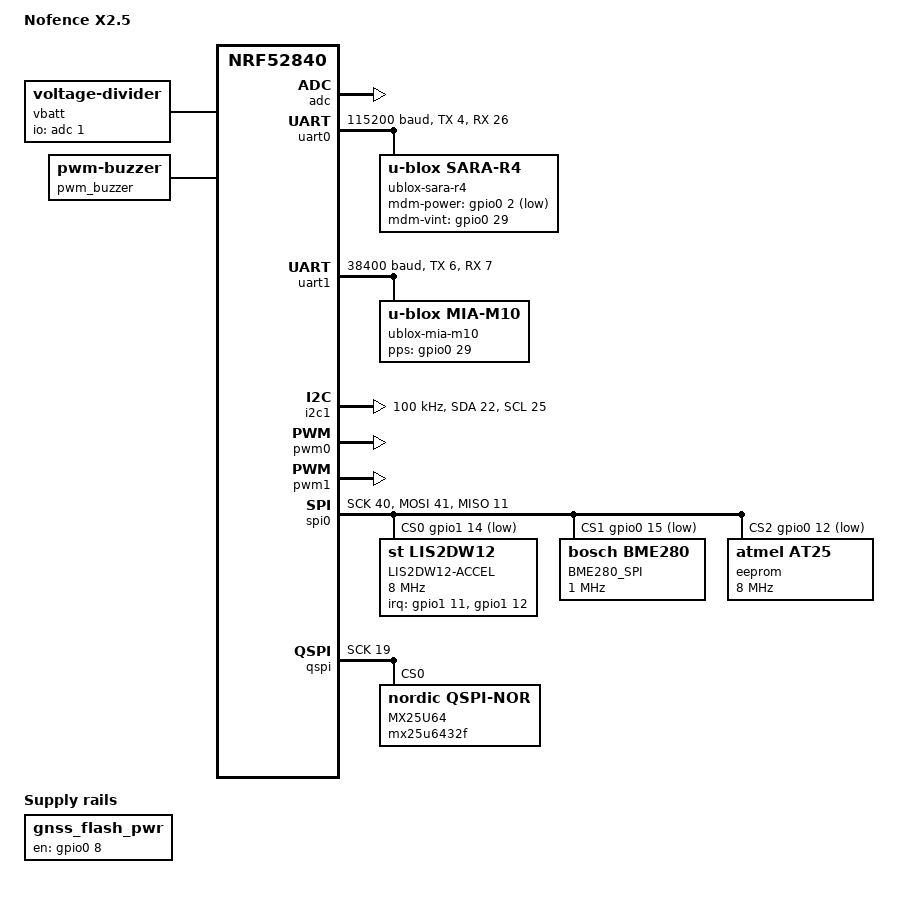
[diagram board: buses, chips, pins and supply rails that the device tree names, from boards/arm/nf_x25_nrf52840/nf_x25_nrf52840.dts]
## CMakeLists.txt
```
# SPDX-License-Identifier: Apache-2.0

cmake_minimum_required(VERSION 3.20.0)

# Print out build type
message(STATUS "Build type: ${BUILD_TYPE} 🚀")

list(APPEND DTS_ROOT ${CMAKE_CURRENT_SOURCE_DIR})

# Out-of-tree driver for GNSS,
# see https://github.com/zephyrproject-rtos/zephyr/tree/main/samples/application_development/out_of_tree_driver
list(APPEND ZEPHYR_EXTRA_MODULES
        )

list(APPEND ZEPHYR_EXTRA_MODULES
        ${CMAKE_CURRENT_SOURCE_DIR}/src/modules/collar_protocol
        ${CMAKE_CURRENT_SOURCE_DIR}/src/drivers/gnss
        ${CMAKE_CURRENT_SOURCE_DIR}/src/drivers/modem_nf
        )



# Re-direct the directory where the 'boards' directory is found from
# $ZEPHYR_BASE to this directory.
set(BOARD_ROOT ${CMAKE_CURRENT_LIST_DIR})

if (BUILD_TYPE STREQUAL "debug")
  set(OVERLAY_CONFIG debug.conf)
endif()

# The Nofence X3 board exists out-of-tree from zephyr boards
# Default board is a future revision that does not exist yet
# Force users to select boards for now, uncomment line below later
set(BOARD nf_sg25_27o_nrf52840)

find_package(Zephyr REQUIRED HINTS $ENV{ZEPHYR_BASE})

include(cmake/version.cmake)

project(x3_fw)

# Genrerate firmware version info
configure_file(version.h.in ${PROJECT_BINARY_DIR}/include/generated/nf_version.h)
configure_file(version.sh.in ${PROJECT_BINARY_DIR}/nf_version.sh)

# As the Zephyr GNSS API is not yet finalized, ( see https://github.com/zephyrproject-rtos/zephyr/issues/30564)
# We put the proposed API out-of-tree
zephyr_include_directories(include
                          )
zephyr_include_directories(${CMAKE_CURRENT_BINARY_DIR})
include_directories(${CMAKE_CURRENT_BINARY_DIR})

zephyr_include_directories(${PROJECT_BINARY_DIR}/include/generated)

set(APP_MAIN src/main.c)

if (CONFIG_COLLAR_PROTOCOL)
        add_dependencies(app collar_protocol_headers)
endif ()

# Added as zephyr library
zephyr_library_include_directories(
        src/modules/amc
        src/modules/fw_upgrade
        src/modules/storage_controller
        src/events
        src/modules/error_handler
        src/events/error_handler
        src/modules/diagnostics
        src/events/diagnostics
        src/events/fw_upgrade
        src/modules/environment
        src/events/environment
        src/modules/movement_controller
        src/events/movement_controller
        src/modules/cellular_controller
        src/modules/gnss_controller
        src/events/cellular_controller
  	src/modules/buzzer
        src/modules/time_use
        src/modules/nofence_watchdog
        src/events/collar_stats
        src/events/amc
        src/events/watchdog
        src/drivers/approtect
        ${PROJECT_BINARY_DIR}/include/generated/)
        
target_sources(app PRIVATE ${APP_MAIN}
        ${APP_SOURCES}
)

# Application sources
add_subdirectory(src/events/ble)
add_subdirectory(src/modules/ble)
add_subdirectory(src/modules/fw_upgrade)
add_subdirectory(src/modules/storage_controller)
add_subdirectory(src/modules/nf_settings)
add_subdirectory(src/modules/amc)
add_subdirectory(src/events/amc)
add_subdirectory(src/modules/cellular_controller)
add_subdirectory(src/modules/buzzer)
add_subdirectory(src/modules/error_handler)
add_subdirectory(src/modules/nofence_watchdog)

add_subdirectory(src/modules/power_manager)
add_subdirectory(src/events/power_manager)

add_subdirectory(src/events/messaging)
add_subdirectory(src/modules/messaging)
#add_subdirectory(src/events/diagnostics)
add_subdirectory(src/modules/diagnostics)

add_subdirectory(src/events/electric_pulse)
add_subdirectory(src/modules/electric_pulse)
add_subdirectory(src/modules/environment)

add_subdirectory_ifdef(CONFIG_WATCHDOG_ENABLE src/modules/watchdog)
add_subdirectory_ifdef(CONFIG_WATCHDOG_ENABLE src/events/watchdog)
add_subdirectory(src/modules/gnss_controller)
add_subdirectory(src/modules/movement_controller)
add_subdirectory(src/modules/time_use)
add_subdirectory(src/events/collar_stats)
add_subdirectory(src/events/movement_controller)

add_subdirectory(src/drivers/approtect)
```

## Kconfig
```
menu "APPLICATION_CODE"

	config APPLICATION_WORKQUEUE_STACK_SIZE
		int "Application workqueue stack size"
		default 4096

	config APPLICATION_WORKQUEUE_PRIORITY
		int "Application workqueue priority"
		default SYSTEM_WORKQUEUE_PRIORITY

	config UBX_CONTROLLER_LOG_LEVEL
		int "Log level for the ESB PTX sample"
		default 4

endmenu # APPLICATION CODE

menu "DIAGNOSTICS"
rsource "src/modules/diagnostics/Kconfig"
endmenu # DIAGNOSTICS

menu "AMC_MODULE"
rsource "src/modules/amc/Kconfig"
rsource "src/modules/amc/lib/Kconfig"
endmenu # AMC_MODULE

menu "BUZZER_MODULE"
rsource "src/modules/buzzer/Kconfig"
endmenu # BUZZER_MODULE

menu "ERROR_HANDLER"
rsource "src/modules/error_handler/Kconfig"
endmenu # ERROR_HANDLER

menu "FW_UPGRADE"
rsource "src/modules/fw_upgrade/Kconfig"
endmenu # FW_UPGRADE

menu "BLE Modules"
rsource "src/modules/ble/Kconfig"
endmenu

menu "Storage controller"
rsource "src/modules/storage_controller/Kconfig"
endmenu

menu "BLE Events"
rsource "src/events/ble/Kconfig"
endmenu

menu "EP Module"
rsource "src/modules/electric_pulse/Kconfig"
endmenu

menu "Movement Events"
rsource "src/events/movement_controller/Kconfig"
endmenu

menu "EP Events"
rsource "src/events/electric_pulse/Kconfig"
endmenu

menu "Error Events"
rsource "src/events/error_handler/Kconfig"
endmenu

menu "Diagnostics Events"
rsource "src/events/diagnostics/Kconfig"
endmenu

menu "Environment Events"
rsource "src/events/environment/Kconfig"
endmenu

menu "Sound Events"
rsource "src/events/buzzer/Kconfig"
endmenu

menu "Env Sensor"
rsource "src/modules/environment/Kconfig"
endmenu

menu "Messaging"
rsource "src/modules/messaging/Kconfig"
rsource "src/events/messaging/Kconfig"
endmenu

menu "GNSS controller"
rsource "src/modules/gnss_controller/Kconfig"
endmenu

menu "Movement"
rsource "src/modules/movement_controller/Kconfig"
endmenu

menu "Nofence Watchdog"
rsource "src/modules/nofence_watchdog/Kconfig"
endmenu

menu "PWR Events"
rsource "src/events/power_manager/Kconfig"
endmenu

menu "PWR Module"
rsource "src/modules/power_manager/Kconfig"
endmenu

menu "CELLULAR_CONTROLLER"
rsource "src/modules/cellular_controller/Kconfig"
endmenu

menu "TIME_USE"
rsource "src/modules/time_use/Kconfig"
endmenu

menu "Zephyr Kernel"
source "Kconfig.zephyr" 
endmenu

menu "Watchdog"
rsource "src/modules/watchdog/Kconfig"
endmenu
```

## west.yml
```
# Example application-specific west.yml, using manifest imports.
manifest:
  remotes:
    - name: ncs
      url-base: https://github.com/nrfconnect
    - name: nofence
      url-base: git@gitlab.com:nofence
  projects:
    - name: nrf
      repo-path: sdk-nrf
      remote: nofence
      revision: 88422caeb8bfb4e600ddd42054f8656d0586378a
      import: true
    - name: zephyr
      repo-path: sdk-zephyr
      remote: nofence
      revision: v2.7.0-ncs1-nf06
      import:
        # In addition to the zephyr repository itself, NCS also
        # imports the contents of zephyr/west.yml at the above
        # revision. Only the projects explicitly named in the
        # following allowlist are imported.
        #
        # Note that the zephyr west extensions (like 'build', 'flash',
        # 'debug', etc.) are automatically provided by this import, so
        # there's no need to add a redundant west-commands: key for
        # the zephyr project.
        #
        # Please keep this list sorted alphabetically.
        name-allowlist:
          - TraceRecorderSource
          - canopennode
          - civetweb
          - cmsis
          - edtt
          - fatfs
          - hal_nordic
          - hal_st
          - libmetal
          - littlefs
          - loramac-node
          - lvgl
          - lz4
          - mbedtls
          - mcumgr
          - mipi-sys-t
          - nanopb
          - net-tools
          - nrf_hw_models
          - open-amp
          - openthread
          - segger
          - tinycbor
          - tinycrypt

    - name: collar-protocol
      remote: nofence
      repo-path: collar-protocol
      revision: nf-25-05
```

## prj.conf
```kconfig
#  Faulting instruction address (r15/pc): 0x00000000
CONFIG_MAIN_STACK_SIZE=16384

# Create signed images
# See https://developer.nordicsemi.com/nRF_Connect_SDK/doc/latest/mcuboot/readme-ncs.html
CONFIG_BOOTLOADER_MCUBOOT=y

# We need PWM for the Buzzer and electric pulse
CONFIG_PWM=y

CONFIG_BT=y
CONFIG_BT_DEVICE_NAME_DYNAMIC=y
CONFIG_BT_BROADCASTER=y
CONFIG_BT_OBSERVER=y
CONFIG_BT_DEBUG_LOG=n
CONFIG_BT_PERIPHERAL=y
CONFIG_BT_PERIPHERAL_PREF_MIN_INT=6
CONFIG_BT_PERIPHERAL_PREF_MAX_INT=16
CONFIG_BT_PERIPHERAL_PREF_LATENCY=0
CONFIG_BT_PERIPHERAL_PREF_TIMEOUT=400
CONFIG_BT_BONDABLE=n
CONFIG_BT_LL_SOFTDEVICE=y
CONFIG_BT_MAX_CONN=1
CONFIG_BT_AUTO_PHY_UPDATE=y
CONFIG_BT_DATA_LEN_UPDATE=y
CONFIG_BT_HCI_ACL_FLOW_CONTROL=y
CONFIG_BT_L2CAP_TX_MTU=247
CONFIG_BT_BUF_ACL_RX_SIZE=251
CONFIG_BT_NUS=y # enable for RTT over BLE
CONFIG_BT_GATT_CLIENT=y
CONFIG_BT_SMP=y
CONFIG_BT_CTLR=y
CONFIG_BT_CTLR_RX_BUFFERS=10
CONFIG_BT_BUF_ACL_TX_COUNT=10
CONFIG_BT_BUF_ACL_TX_SIZE=251
CONFIG_BT_CTLR_DATA_LENGTH_MAX=251

# Using math library
CONFIG_NEWLIB_LIBC=y
CONFIG_NEWLIB_LIBC_FLOAT_PRINTF=y

CONFIG_REGULATOR=y
CONFIG_REGULATOR_FIXED=y

#using Accelerometer LIS2DW/DH, See boardfile defconfig, driver supports it on SPI
CONFIG_SPI=y
CONFIG_SENSOR=y

#Config external flash
CONFIG_NORDIC_QSPI_NOR=y
CONFIG_FLASH=y
CONFIG_FLASH_PAGE_LAYOUT=y
CONFIG_FLASH_MAP=y
CONFIG_FCB=y

#EEPROM driver
CONFIG_EEPROM=y
CONFIG_EEPROM_AT25=n

#Enable barometer driver
CONFIG_BME280=y

#Config for GNSS, new GPS driver
CONFIG_GNSS=y
CONFIG_GNSS_UBLOX_MIA_M10=y
CONFIG_GNSS_CONTROLLER=y
#CONFIG_GNSS_MIA_M10_PACC=50
#CONFIG_GNSS_MIA_M10_FIXMODE=2
CONFIG_COLLAR_PROTOCOL=y

#CONFIG_FLASH_LOG_LEVEL_DBG=y
#CONFIG_SPI_LOG_LEVEL_DBG=y

# Diagnostics
CONFIG_DIAGNOSTICS=y
CONFIG_DIAGNOSTICS_TEXT_PARSER=n
CONFIG_DIAGNOSTICS_LOG_LEVEL=4
CONFIG_DIAGNOSTIC_EMS_FW=y

CONFIG_DEBUG=n
CONFIG_SIZE_OPTIMIZATIONS=y

CONFIG_CELLULAR_CONTROLLER=y
CONFIG_CELLULAR_CONTROLLER_VERBOSE=y

# Sara modem
CONFIG_NETWORKING=y
CONFIG_NET_SOCKETS=y
CONFIG_NET_OFFLOAD=y
CONFIG_NET_SOCKETS_OFFLOAD=y
CONFIG_NET_IPV4=y
CONFIG_NET_TCP=y
CONFIG_NET_NATIVE=n

#CONFIG_UART_NRFX=y
CONFIG_SERIAL=y
CONFIG_UART_INTERRUPT_DRIVEN=y
CONFIG_UBX_CONTROLLER_LOG_LEVEL=3

#Enable Ublox Sara modem
CONFIG_MODEM=y
CONFIG_MODEM_UBLOX_INIT_RESET=n
CONFIG_MODEM_UBLOX_SARA=n
CONFIG_MODEM_UBLOX_SARA_NF=y
CONFIG_MODEM_UBLOX_SARA_R4=y
CONFIG_MODEM_UBLOX_SARA_RSSI_WORK=n
CONFIG_MODEM_UBLOX_SARA_RSSI_WORK_PERIOD=5
CONFIG_MODEM_LOG_LEVEL_DBG=n
CONFIG_MODEM_CONTEXT_VERBOSE_DEBUG=n
CONFIG_MODEM_UBLOX_SARA_R4_APN="1N01.TMGS"
CONFIG_MODEM_CMD_HANDLER_MAX_PARAM_COUNT=10
CONFIG_MODEM_UBLOX_SARA_R4_RX_STACK_SIZE=1024
CONFIG_USE_CPSMS=n
CONFIG_NF_LISTENING_PORT=1099
CONFIG_MODEM_SOCKET_PACKET_COUNT=5

# Download client
CONFIG_DOWNLOAD_CLIENT=y
CONFIG_DOWNLOAD_CLIENT_STACK_SIZE=4096
CONFIG_DOWNLOAD_CLIENT_HTTP_FRAG_SIZE_512=y
CONFIG_DOWNLOAD_CLIENT_BUF_SIZE=1024
CONFIG_DOWNLOAD_CLIENT_HTTP_FRAG_SIZE_2048=n
CONFIG_DOWNLOAD_CLIENT_HTTP_FRAG_SIZE_1024=n
CONFIG_DOWNLOAD_CLIENT_IPV6=n

# FOTA library
CONFIG_FOTA_DOWNLOAD=y
# The default is 2, but we retry "forever"
CONFIG_FOTA_SOCKET_RETRIES=1024
CONFIG_FW_INFO=y
CONFIG_FW_UPGRADE_LOG_LEVEL=4
CONFIG_FOTA_DOWNLOAD_PROGRESS_EVT=y
CONFIG_DOWNLOAD_CLIENT_RANGE_REQUESTS=n
CONFIG_DOWNLOAD_CLIENT_LOG_LEVEL_DBG=y

# Event manager
CONFIG_EVENT_MANAGER=y
CONFIG_LINKER_ORPHAN_SECTION_PLACE=y
CONFIG_EVENT_MANAGER_LOG_EVENT_TYPE=n
CONFIG_EVENT_MANAGER_MAX_EVENT_CNT=100

# Mcuboot
CONFIG_BOOTLOADER_MCUBOOT=y
CONFIG_IMG_MANAGER=y
CONFIG_MCUBOOT_IMG_MANAGER=y
# Prevent MCUBOOT to use external flash as bootable image
CONFIG_PM_EXTERNAL_FLASH_MCUBOOT_SECONDARY=n

# DFU for FOTA
CONFIG_DFU_TARGET=y
CONFIG_DFU_TARGET_STREAM_SAVE_PROGRESS=n
CONFIG_STREAM_FLASH_ERASE=y
CONFIG_STREAM_FLASH=y
CONFIG_SETTINGS=y
CONFIG_DFU_TARGET_MCUBOOT=y
CONFIG_REBOOT=y

# We disable these NVS flags so that we do not perform any FOTA header info
# writes during firmware upgrade. Relates to CONFIG_DFU_TARGET_STREAM_SAVE_PROGRESS=n
# If we want to enable these, make sure to look into DFU_TARGET_STREAM_SAVE_PROGRESS
# and make sure it's disabled properly, as it does not work as it should with sara modem.
CONFIG_SETTINGS_NVS=n
CONFIG_NVS=y
CONFIG_NVS_LOG_LEVEL_DBG=n


# Support heap memory
CONFIG_HEAP_MEM_POOL_SIZE=16384
CONFIG_SYSTEM_WORKQUEUE_STACK_SIZE=16384
CONFIG_HW_STACK_PROTECTION=y


CONFIG_RING_BUFFER=y

# QSPI configuration
CONFIG_NORDIC_QSPI_NOR=y
CONFIG_NORDIC_QSPI_NOR_FLASH_LAYOUT_PAGE_SIZE=4096
CONFIG_NORDIC_QSPI_NOR_STACK_WRITE_BUFFER_SIZE=16

# Bluetooth DFU
CONFIG_BOOTLOADER_MCUBOOT=y
CONFIG_IMG_MANAGER=y
CONFIG_MCUBOOT_IMG_MANAGER=y

CONFIG_MCUMGR=y
CONFIG_MCUMGR_SMP_BT=y
CONFIG_MCUMGR_SMP_BT_AUTHEN=n

CONFIG_MCUMGR_CMD_IMG_MGMT=y
CONFIG_MCUMGR_CMD_OS_MGMT=y

# Battery
CONFIG_ADC=y
CONFIG_ADC_ASYNC=y

CONFIG_DATE_TIME=y
# We want to handle updates ourselves
CONFIG_DATE_TIME_UPDATE_INTERVAL_SECONDS=0

# Watchdog
CONFIG_WATCHDOG_ENABLE=y

# Beacon
CONFIG_BEACON_SCAN_ENABLE=n
CONFIG_BEACON_SHORTEST_DISTANCE=n


# Console
CONFIG_CONSOLE=y
CONFIG_UART_CONSOLE=n
CONFIG_STDOUT_CONSOLE=y
CONFIG_PRINTK=y
CONFIG_EARLY_CONSOLE=n
CONFIG_LOG=y
CONFIG_USE_SEGGER_RTT=y
CONFIG_RTT_CONSOLE=y
CONFIG_LOG_PRINTK=y
CONFIG_LOG_MODE_IMMEDIATE=y
CONFIG_LOG_BACKEND_RTT=y
#CONFIG_LOG_BUFFER_SIZE=15360
CONFIG_SEGGER_RTT_BUFFER_SIZE_UP=15360
CONFIG_LOG_PWR_EVENT=n

# Boot
CONFIG_BOOT_BANNER=y


#CONFIG_LOG=y
#CONFIG_CONSOLE=y
#CONFIG_RTT_CONSOLE=y
#CONFIG_LOG_MODE_IMMEDIATE=y
#CONFIG_USE_SEGGER_RTT=y
#CONFIG_LOG_BACKEND_RTT=y
```

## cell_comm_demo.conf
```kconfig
#  Faulting instruction address (r15/pc): 0x00000000
CONFIG_MAIN_STACK_SIZE=4096

# We definitely want power management
#CONFIG_PM=y
#CONFIG_PM_DEVICE=y
#CONFIG_PM_DEVICE_RUNTIME=y
#CONFIG_UART_1_GPIO_MANAGEMENT=y


# We need PWM for the Buzzer and electric pulse
#CONFIG_PWM=y

# Enable loging using RTT only
CONFIG_STDOUT_CONSOLE=y
CONFIG_RTT_CONSOLE=y
#CONFIG_UART_CONSOLE=n
CONFIG_CONSOLE=y
CONFIG_LOG=y
CONFIG_LOG_MODE_IMMEDIATE=y
CONFIG_USE_SEGGER_RTT=y
CONFIG_LOG_BACKEND_RTT=y
CONFIG_LOG_BACKEND_UART=n
CONFIG_LOG_BUFFER_SIZE=15360
CONFIG_SEGGER_RTT_BUFFER_SIZE_UP=15360
#CONFIG_LOG_MODE_DEFERRED=y
CONFIG_LOG_RUNTIME_FILTERING=y
CONFIG_LOG_PRINTK=y
CONFIG_LOG_PROCESS_TRIGGER_THRESHOLD=0
CONFIG_LOG_STRDUP_BUF_COUNT=16
CONFIG_CBPRINTF_FP_SUPPORT=y

# We need to enable bluetooth scanning and advertising
#TODO CONFIG_BT=y
#CONFIG_BT_DEVICE_NAME="Zephyr"
#CONFIG_BT_BROADCASTER=y
#CONFIG_BT_OBSERVER=y
#CONFIG_BT_DEBUG_LOG=n

# Using math library
CONFIG_NEWLIB_LIBC=n
CONFIG_NEWLIB_LIBC_FLOAT_PRINTF=n

#using Accelerometer LIS3DH, LIS2DH driver supports it on SPI
CONFIG_SPI=n
CONFIG_SENSOR=n
CONFIG_LIS2DH=n
CONFIG_LIS2DH_TRIGGER_GLOBAL_THREAD=n

#Config external flash
CONFIG_SPI_NOR=n
# TODO, what about several NOR flashes ??
CONFIG_SPI_NOR_FLASH_LAYOUT_PAGE_SIZE=4096
CONFIG_FLASH=n

#Custom Nofence driver for ZOEM8B GPS/GNSS
CONFIG_ZOEM8B_GPS=n

#CONFIG_FLASH_LOG_LEVEL_DBG=y
#CONFIG_SPI_LOG_LEVEL_DBG=y
CONFIG_DEBUG_OPTIMIZATIONS=y

CONFIG_UBX_CONTROLLER_LOG_LEVEL=3

# Sara modem and networking
CONFIG_NETWORKING=y
CONFIG_NET_SOCKETS=y
CONFIG_NET_OFFLOAD=n
CONFIG_NET_SOCKETS_OFFLOAD=y
CONFIG_NET_IPV4=y
CONFIG_NET_IPV6=n

# Network buffers
CONFIG_NET_BUF_RX_COUNT=80
CONFIG_NET_BUF_TX_COUNT=80

CONFIG_UART_NRFX=y
CONFIG_SERIAL=y
CONFIG_MODEM=y
CONFIG_MODEM_UBLOX_SARA=y
CONFIG_MODEM_UBLOX_SARA_R4=y
CONFIG_MODEM_LOG_LEVEL_DBG=y
CONFIG_MODEM_CONTEXT_VERBOSE_DEBUG=y
CONFIG_MODEM_UBLOX_SARA_RSSI_WORK=n

CONFIG_SOCKS=n
CONFIG_NET_SOCKETS_POLL_MAX=6
CONFIG_NET_CONNECTION_MANAGER=n # net-offloading not yet supported by the ublox r4 driver
CONFIG_NET_CONFIG_SETTINGS=y
CONFIG_NET_CONFIG_NEED_IPV4=y

CONFIG_NET_TCP=y
CONFIG_NET_UDP=n

# Server IP address
CONFIG_MODEM_UBLOX_SARA_R4_APN="onomondo"
CONFIG_NET_CONFIG_PEER_IPV4_ADDR="185.215.195.137" #"195.34.89.241" #ublox echo server (port#: 7)
CONFIG_SERVER_PORT=7
```

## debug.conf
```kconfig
# Enable loging using RTT only
CONFIG_STDOUT_CONSOLE=y
CONFIG_RTT_CONSOLE=y
#CONFIG_UART_CONSOLE=n
CONFIG_CONSOLE=y
CONFIG_LOG=y
CONFIG_LOG_MODE_IMMEDIATE=y
CONFIG_USE_SEGGER_RTT=y
CONFIG_LOG_BACKEND_RTT=y
CONFIG_LOG_BACKEND_UART=n
CONFIG_LOG_BUFFER_SIZE=15360
CONFIG_SEGGER_RTT_BUFFER_SIZE_UP=15360
#CONFIG_LOG_MODE_DEFERRED=y
CONFIG_LOG_RUNTIME_FILTERING=y
CONFIG_LOG_PRINTK=y
CONFIG_LOG_PROCESS_TRIGGER_THRESHOLD=0
CONFIG_LOG_STRDUP_BUF_COUNT=16
CONFIG_CBPRINTF_FP_SUPPORT=y
CONFIG_PRINTK=y

# Bluetooth UART
CONFIG_BT_NUS=y

# AMC 
CONFIG_AMC_LOG_LEVEL_ERR=y
CONFIG_AMC_LIB_LOG_LEVEL_ERR=y

# GNSS
CONFIG_GNSS_CONTROLLER_LOG_LEVEL_ERR=y

# Diagnostics
CONFIG_DIAGNOSTICS=y
CONFIG_DIAGNOSTICS_TEXT_PARSER=n

# Beacon scanning
CONFIG_BEACON_PROCESSOR_LOG_LEVEL_INF=y

# Messaging
CONFIG_MESSAGING_LOG_LEVEL_INF=y

# Movement controller
CONFIG_MOVE_CONTROLLER_LOG_LEVEL_WRN=y

# Power 
CONFIG_LOG_PWR_EVENT=n

CONFIG_MODEM_LOG_LEVEL_DBG=y
CONFIG_MODEM_CONTEXT_VERBOSE_DEBUG=y
CONFIG_DOWNLOAD_CLIENT_LOG_LEVEL_DBG=y
CONFIG_FOTA_DOWNLOAD_LOG_LEVEL_DBG=y
CONFIG_LOG_ENVIRONMENT_EVENT=n
```

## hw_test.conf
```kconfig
# We definitely want power management
#CONFIG_PM=y
#CONFIG_PM_DEVICE=y
#CONFIG_PM_DEVICE_RUNTIME=y
```

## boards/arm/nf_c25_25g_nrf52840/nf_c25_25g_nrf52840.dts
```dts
/*
 * Copyright (c) 2017 Linaro Limited
 *
 * SPDX-License-Identifier: Apache-2.0
 */

/dts-v1/;
#include <nordic/nrf52840_qiaa.dtsi>

/ {
	model = "Nofence C2.5 Revision 25G";
	compatible = "nofence,x25";


	/* Electric pulse */
	ep {
		compatible = "nofence,electric-pulse";
		ep_ctrl: ep_ctrl {
			gpios = <&gpio0 17 GPIO_ACTIVE_HIGH>;
			label = "EP CTRL";
		};

		ep_detect: ep_detect {
			gpios = <&gpio0 15 GPIO_ACTIVE_HIGH>;
			label = "EP DETECT";
		};
	};

	solar {
		compatible = "nofence,solar-charge";
		charging_dcdc: charging_dcdc {
			gpios = <&gpio0 13 GPIO_ACTIVE_HIGH>;
			label = "CHARGING DCDC SWITCH";
		};

		charging_load: charging_load {
			gpios = <&gpio0 16 GPIO_ACTIVE_HIGH>;
			label = "CHARGING LOAD SWITCH";
		};
	};

	vbatt {
		compatible = "voltage-divider";
		io-channels = <&adc 1>;
		output-ohms = <5600000>;
		full-ohms = <(5600000 + 10000000)>;
	};

	chosen {
		zephyr,sram = &sram0;
		zephyr,flash = &flash0;
		zephyr,code-partition = &slot0_partition;
		nordic,pm-ext-flash = &mx25u64;
	};

	gnss_flash_pwr: periph-pwr-ctrl {
		compatible = "regulator-fixed-sync", "regulator-fixed";
		label = "periph-pwr-ctrl";
		regulator-name = "periph-pwr-ctrl";
		enable-gpios = <&gpio0 8 GPIO_ACTIVE_HIGH>;
		regulator-boot-on;
	};


	pwm_buzzer {
		compatible = "pwm-buzzer";
		pwm_buzzer: pwm_buzzer {
			pwms = <&pwm0 14>;
		};
	};

	pwm_ep {
		compatible = "pwm-ep";
		pwm_ep: pwm_ep {
			pwms = <&pwm1 17>;
		};
	};

	/* Convenience aliases */
	aliases {
		eeprom = &eeprom0;
		ep-ctrl = &ep_ctrl;
		ep-detect = &ep_detect;
		pwm-buzzer = &pwm_buzzer;
		pwm-ep = &pwm_ep;
		gnss = &gnss;
		charging-dcdc = &charging_dcdc;
		charging-load = &charging_load;
		charging-current = &adc;
	};

};

&adc {
	status = "okay";
};

&gpiote {
	status = "okay";
};

&gpio0 {
	status = "okay";
};

&gpio1 {
	status = "okay";
};

/* u-blox SARA-R4 Modem */
modem_uart: &uart0 {
	compatible = "nordic,nrf-uarte";
	current-speed = <115200>;
	status = "okay";
	tx-pin = <4>; /* P0.04 */
	rx-pin = <26>; /* P0.26 */
	rx-pull-up;
	sara_r4 {
		compatible = "u-blox,sara-r4";
		label = "ublox-sara-r4";
		status = "okay";
		mdm-power-gpios = <&gpio0 2 GPIO_ACTIVE_LOW>;
		/* mdm-reset-gpios = <&gpio1 10 GPIO_ACTIVE_HIGH>; */
		mdm-vint-gpios = <&gpio0 29 GPIO_ACTIVE_HIGH>;
	};
};

/* u-blox MIA-M10 GNSS */
gnss_uart: &uart1 {
	compatible = "nordic,nrf-uarte";
	current-speed = <38400>;
	status = "okay";
	tx-pin = <6>; /* P0.06 */
	rx-pin = <7>; /* P0.07 */
	gnss: mia_m10 {
		compatible = "u-blox,mia-m10";
		label = "ublox-mia-m10";
		status = "okay";

		pps-gpios = <&gpio0 5 GPIO_ACTIVE_HIGH>;
		extint-gpios = <&gpio0 27 GPIO_ACTIVE_HIGH>;
		resetn-gpios = <&gpio1 3 GPIO_ACTIVE_HIGH>;
	};
	/* vin-supply = <&gnss_flash_pwr>; */
};

&i2c0 {
	status = "disabled";
};

&i2c1 {
	compatible = "nordic,nrf-twi";
	/* Cannot be used together with spi1. */
	status = "okay";
	sda-pin = <22>; /* P0.22 */
	scl-pin = <25>; /* P0.25 */
	clock-frequency = <I2C_BITRATE_STANDARD>;


};

&pwm0 {
	status = "okay";
	ch0-pin = <14>;
};

&pwm1 {
	status = "okay";
	ch0-pin = <17>;
};

&spi0 {
	compatible = "nordic,nrf-spi";
	/* Cannot be used together with i2c0. */
	status = "okay";
	sck-pin = <40>; /* P1.08 */
	mosi-pin = <41>;/* P1.09 */
	miso-pin = <11>;/* P0.11 */
	cs-gpios = <&gpio1 14 GPIO_ACTIVE_LOW>, /* CS ACCELEROMETER */
	           <&gpio0 15 GPIO_ACTIVE_LOW>, /* CS BAROMETER */
	           <&gpio0 12 GPIO_ACTIVE_LOW>; /* CS EEPROM */

	movement_sensor: lis2dw@0 {
		status = "okay";
		compatible = "st,lis2dw12";
		reg = <0>; /* First defined chip select number*/
		irq-gpios = <&gpio1 11 0>, <&gpio1 12 0>; /* INT1 and INT2 */
		spi-max-frequency = <8000000>;
		range = <2>; /* +∕- 2g */
		label = "LIS2DW12-ACCEL";
	};

	environment_sensor: bme280@1 {
		compatible = "bosch,bme280";
		label = "BME280_SPI";
		reg = <1>;
		spi-max-frequency = <1000000>;
	};

	eeprom0: eeprom@2 {
		compatible = "atmel,at25";
		reg = <2>;
		label = "eeprom";
		/*wp-gpios = <&gpiob 7 GPIO_ACTIVE_LOW>;*/
		size = <DT_SIZE_K(4)>;
		pagesize = <16>;
		address-width = <8>;
		timeout = <10>;
		status = "disabled";
		spi-max-frequency = <8000000>;
	};
};

&spi1 {
	status = "disabled";
};

&spi2 {
	status = "disabled";
};

&qspi {
	status = "okay";
	sck-pin = <19>;
	io-pins = <20>, <23>, <24>, <21>;
	csn-pins = <34>;
	mx25u64: mx25u6432f@0 {
		compatible = "nordic,qspi-nor";
		reg = <0>;
		/* MX24U64 supports only pp and pp4io */
		writeoc = "pp4io";
		/* MX24U64 supports all readoc options */
		readoc = "read4io";
		sck-frequency = <8000000>;
		label = "MX25U64";
		/* vin-supply = <&gnss_flash_pwr>; */
		jedec-id = [ c2 25 37  ];
		sfdp-bfp = [ e5 20 f1 ff ff ff ff 03 44 eb 08 6b 08 3b 04 bb ee ff ff ff ff ff 00 ff ff ff 00 ff 0c 20 0f 52 10 d8 00 ff 23 72 f5 00 82 ed 04 cc 44 83 68 44 30 b0 30 b0 f7 c4 d5 5c 00 be 29 ff f0 d0 ff ff  ];
		size = <67108864>;
		has-dpd;
		t-enter-dpd = <10000>;
		t-exit-dpd = <35000>;
	};
};

&flash0 {

	partitions {
		compatible = "fixed-partitions";
		#address-cells = <1>;
		#size-cells = <1>;

		boot_partition: partition@0 {
			label = "mcuboot";
			reg = <0x000000000 0x0000C000>;
		};
		slot0_partition: partition@c000 {
			label = "image-0";
			reg = <0x0000C000 0x00067000>;
		};
		slot1_partition: partition@73000 {
			label = "image-1";
			reg = <0x00073000 0x00067000>;
		};
		scratch_partition: partition@da000 {
			label = "image-scratch";
			reg = <0x000da000 0x0001e000>;
		};

		/*
		 * The flash starting at 0x000f8000 and ending at
		 * 0x000fffff is reserved for use by the application.
		 */

		/*
		 * Storage partition will be used by FCB/LittleFS/NVS
		 * if enabled.
		 */
		storage_partition: partition@f8000 {
			label = "storage";
			reg = <0x000f8000 0x00008000>;
		};
	};
};

&usbd {
	compatible = "nordic,nrf-usbd";
	status = "disabled";
};
```

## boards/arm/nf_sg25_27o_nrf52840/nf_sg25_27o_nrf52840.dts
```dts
/*
 * Copyright (c) 2017 Linaro Limited
 *
 * SPDX-License-Identifier: Apache-2.0
 */

/dts-v1/;
#include <nordic/nrf52840_qiaa.dtsi>

/ {
	model = "Nofence SG2.5 Revision 27O";
	compatible = "nofence,x25";


	/* Electric pulse */
	ep {
		compatible = "nofence,electric-pulse";
		ep_ctrl: ep_ctrl {
			gpios = <&gpio0 17 GPIO_ACTIVE_HIGH>;
			label = "EP CTRL";
		};

		ep_detect: ep_detect {
			gpios = <&gpio0 15 GPIO_ACTIVE_HIGH>;
			label = "EP DETECT";
		};
	};

	solar {
		compatible = "nofence,solar-charge";
		charging_dcdc: charging_dcdc {
			gpios = <&gpio0 13 GPIO_ACTIVE_HIGH>;
			label = "CHARGING DCDC SWITCH";
		};

		charging_load: charging_load {
			gpios = <&gpio0 16 GPIO_ACTIVE_HIGH>;
			label = "CHARGING LOAD SWITCH";
		};
	};
	vbatt {
		compatible = "voltage-divider";
		io-channels = <&adc 1>;
		output-ohms = <5600000>;
		full-ohms = <(5600000 + 10000000)>;
	};

	chosen {
		zephyr,sram = &sram0;
		zephyr,flash = &flash0;
		zephyr,code-partition = &slot0_partition;
		nordic,pm-ext-flash = &mx25u64;
	};

	gnss_flash_pwr: periph-pwr-ctrl {
		compatible = "regulator-fixed-sync", "regulator-fixed";
		label = "periph-pwr-ctrl";
		regulator-name = "periph-pwr-ctrl";
		enable-gpios = <&gpio0 8 GPIO_ACTIVE_HIGH>;
		regulator-boot-on;
	};


	pwm_buzzer {
		compatible = "pwm-buzzer";
		pwm_buzzer: pwm_buzzer {
			pwms = <&pwm0 14>;
		};
	};

	pwm_ep {
		compatible = "pwm-ep";
		pwm_ep: pwm_ep {
			pwms = <&pwm1 17>;
		};
	};

	/* Convenience aliases */
	aliases {
		eeprom = &eeprom0;
		ep-ctrl = &ep_ctrl;
		ep-detect = &ep_detect;
		pwm-buzzer = &pwm_buzzer;
		pwm-ep = &pwm_ep;
		gnss = &gnss;
		charging-dcdc = &charging_dcdc;
		charging-load = &charging_load;
		charging-current = &adc;
	};

};

&adc {
	status = "okay";
};

&gpiote {
	status = "okay";
};

&gpio0 {
	status = "okay";
};

&gpio1 {
	status = "okay";
};

/* u-blox SARA-R4 Modem */
modem_uart: &uart0 {
	compatible = "nordic,nrf-uarte";
	current-speed = <115200>;
	status = "okay";
	tx-pin = <4>; /* P0.04 */
	rx-pin = <26>; /* P0.26 */
	rx-pull-up;
	sara_r4 {
		compatible = "u-blox,sara-r4";
		label = "ublox-sara-r4";
		status = "okay";
		mdm-power-gpios = <&gpio0 2 GPIO_ACTIVE_LOW>;
		/* mdm-reset-gpios = <&gpio1 10 GPIO_ACTIVE_HIGH>; */
		mdm-vint-gpios = <&gpio0 29 GPIO_ACTIVE_HIGH>;
	};
};

/* u-blox MIA-M10 GNSS */
gnss_uart: &uart1 {
	compatible = "nordic,nrf-uarte";
	current-speed = <38400>;
	status = "okay";
	tx-pin = <6>; /* P0.06 */
	rx-pin = <7>; /* P0.07 */
	gnss: mia_m10 {
		compatible = "u-blox,mia-m10";
		label = "ublox-mia-m10";
		status = "okay";

		pps-gpios = <&gpio0 5 GPIO_ACTIVE_HIGH>;
		extint-gpios = <&gpio0 27 GPIO_ACTIVE_HIGH>;
		resetn-gpios = <&gpio1 3 GPIO_ACTIVE_HIGH>;
	};
	/* vin-supply = <&gnss_flash_pwr>; */
};

&i2c0 {
	status = "disabled";
};

&i2c1 {
	compatible = "nordic,nrf-twi";
	/* Cannot be used together with spi1. */
	status = "okay";
	sda-pin = <22>; /* P0.22 */
	scl-pin = <25>; /* P0.25 */
	clock-frequency = <I2C_BITRATE_STANDARD>;


};

&pwm0 {
	status = "okay";
	ch0-pin = <14>;
};

&pwm1 {
	status = "okay";
	ch0-pin = <17>;
};

&spi0 {
	compatible = "nordic,nrf-spi";
	/* Cannot be used together with i2c0. */
	status = "okay";
	sck-pin = <40>; /* P1.08 */
	mosi-pin = <41>;/* P1.09 */
	miso-pin = <11>;/* P0.11 */
	cs-gpios = <&gpio1 14 GPIO_ACTIVE_LOW>, /* CS ACCELEROMETER */
	           <&gpio0 15 GPIO_ACTIVE_LOW>, /* CS BAROMETER */
	           <&gpio0 12 GPIO_ACTIVE_LOW>; /* CS EEPROM */

	movement_sensor: lis2dw@0 {
		status = "okay";
		compatible = "st,lis2dw12";
		reg = <0>; /* First defined chip select number*/
		irq-gpios = <&gpio1 11 0>, <&gpio1 12 0>; /* INT1 and INT2 */
		spi-max-frequency = <8000000>;
		range = <2>; /* +∕- 2g */
		label = "LIS2DW12-ACCEL";
	};

	environment_sensor: bme280@1 {
		compatible = "bosch,bme280";
		label = "BME280_SPI";
		reg = <1>;
		spi-max-frequency = <1000000>;
	};

	eeprom0: eeprom@2 {
		compatible = "atmel,at25";
		reg = <2>;
		label = "eeprom";
		/*wp-gpios = <&gpiob 7 GPIO_ACTIVE_LOW>;*/
		size = <DT_SIZE_K(4)>;
		pagesize = <16>;
		address-width = <8>;
		timeout = <10>;
		status = "disabled";
		spi-max-frequency = <8000000>;
	};
};

&spi1 {
	status = "disabled";
};

&spi2 {
	status = "disabled";
};

&qspi {
	status = "okay";
	sck-pin = <19>;
	io-pins = <20>, <23>, <24>, <21>;
	csn-pins = <34>;
	mx25u64: mx25u6432f@0 {
		compatible = "nordic,qspi-nor";
		reg = <0>;
		/* MX24U64 supports only pp and pp4io */
		writeoc = "pp4io";
		/* MX24U64 supports all readoc options */
		readoc = "read4io";
		sck-frequency = <8000000>;
		label = "MX25U64";
		/* vin-supply = <&gnss_flash_pwr>; */
		jedec-id = [ c2 25 37  ];
		sfdp-bfp = [ e5 20 f1 ff ff ff ff 03 44 eb 08 6b 08 3b 04 bb ee ff ff ff ff ff 00 ff ff ff 00 ff 0c 20 0f 52 10 d8 00 ff 23 72 f5 00 82 ed 04 cc 44 83 68 44 30 b0 30 b0 f7 c4 d5 5c 00 be 29 ff f0 d0 ff ff  ];
		size = <67108864>;
		has-dpd;
		t-enter-dpd = <10000>;
		t-exit-dpd = <35000>;
	};
};

&flash0 {

	partitions {
		compatible = "fixed-partitions";
		#address-cells = <1>;
		#size-cells = <1>;

		boot_partition: partition@0 {
			label = "mcuboot";
			reg = <0x000000000 0x0000C000>;
		};
		slot0_partition: partition@c000 {
			label = "image-0";
			reg = <0x0000C000 0x00067000>;
		};
		slot1_partition: partition@73000 {
			label = "image-1";
			reg = <0x00073000 0x00067000>;
		};
		scratch_partition: partition@da000 {
			label = "image-scratch";
			reg = <0x000da000 0x0001e000>;
		};

		/*
		 * The flash starting at 0x000f8000 and ending at
		 * 0x000fffff is reserved for use by the application.
		 */

		/*
		 * Storage partition will be used by FCB/LittleFS/NVS
		 * if enabled.
		 */
		storage_partition: partition@f8000 {
			label = "storage";
			reg = <0x000f8000 0x00008000>;
		};
	};
};

&usbd {
	compatible = "nordic,nrf-usbd";
	status = "disabled";
};
```

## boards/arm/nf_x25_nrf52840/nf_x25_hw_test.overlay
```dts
/* 
 * Uses low-level drivers instead of component drivers.
 */

&uart0 {
    status = "okay";
    sara_r4 {
        status = "disabled";
    };
};

&uart1 {
    status = "okay";
    mia_m10 {
        status = "disabled";
    };
};
/*
&spi0 {
    lis2dh12@0 {
        status = "disabled";
    };
    bme280@1 {
        status = "disabled";
    };
    eeprom@2 {
        status = "disabled";
    };
};*/

&qspi {
    mx25u6432f@0 {
        status = "okay";
    };
};
```

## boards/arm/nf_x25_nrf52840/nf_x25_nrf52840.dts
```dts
/*
 * Copyright (c) 2017 Linaro Limited
 *
 * SPDX-License-Identifier: Apache-2.0
 */

/dts-v1/;
#include <nordic/nrf52840_qiaa.dtsi>

/ {
	model = "Nofence X2.5";
	compatible = "nofence,x25";


	/* Electric pulse */
	ep {
		compatible = "nofence,electric-pulse";
		ep_ctrl: ep_ctrl {
			gpios = <&gpio0 17 GPIO_ACTIVE_HIGH>;
			label = "EP CTRL";
		};

		ep_detect: ep_detect {
			gpios = <&gpio0 15 GPIO_ACTIVE_HIGH>;
			label = "EP DETECT";
		};
	};

	solar {
		compatible = "nofence,solar-charge";
		charging_dcdc: charging_dcdc {
			gpios = <&gpio0 13 GPIO_ACTIVE_HIGH>;
			label = "CHARGING DCDC SWITCH";
		};

		charging_load: charging_load {
			gpios = <&gpio0 16 GPIO_ACTIVE_HIGH>;
			label = "CHARGING LOAD SWITCH";
		};
	};
	vbatt {
		compatible = "voltage-divider";
		io-channels = <&adc 1>;
		output-ohms = <5600000>;
		full-ohms = <(5600000 + 10000000)>;
	};
	
	chosen {
		zephyr,sram = &sram0;
		zephyr,flash = &flash0;
		zephyr,code-partition = &slot0_partition;
		nordic,pm-ext-flash = &mx25u64;
	};

	gnss_flash_pwr: periph-pwr-ctrl {
		compatible = "regulator-fixed-sync", "regulator-fixed";
		label = "periph-pwr-ctrl";
		regulator-name = "periph-pwr-ctrl";
		enable-gpios = <&gpio0 8 GPIO_ACTIVE_HIGH>;
		regulator-boot-on;
	};


	pwm_buzzer {
		compatible = "pwm-buzzer";
		pwm_buzzer: pwm_buzzer {
			pwms = <&pwm0 14>;
		};
	};

	pwm_ep {
		compatible = "pwm-ep";
		pwm_ep: pwm_ep {
			pwms = <&pwm1 17>;
		};
	};

	/* Convenience aliases */
	aliases {
		eeprom = &eeprom0;
		ep-ctrl = &ep_ctrl;
		ep-detect = &ep_detect;
		pwm-buzzer = &pwm_buzzer;
		pwm-ep = &pwm_ep;
		gnss = &gnss;
		charging-dcdc = &charging_dcdc;
		charging-load = &charging_load;
		charging-current = &adc;
	};

};

&adc {
	status = "okay";
};

&gpiote {
	status = "okay";
};

&gpio0 {
	status = "okay";
};

&gpio1 {
	status = "okay";
};

/* u-blox SARA-R4 Modem */
modem_uart: &uart0 {
	compatible = "nordic,nrf-uarte";
	current-speed = <115200>;
	status = "okay";
	tx-pin = <4>; /* P0.04 */
	rx-pin = <26>; /* P0.26 */
	sara_r4 {
		compatible = "u-blox,sara-r4";
		label = "ublox-sara-r4";
		status = "okay";
		mdm-power-gpios = <&gpio0 2 GPIO_ACTIVE_LOW>;
		/* mdm-reset-gpios = <&gpio1 10 GPIO_ACTIVE_HIGH>; */
		mdm-vint-gpios = <&gpio0 29 GPIO_ACTIVE_HIGH>;
	};
};

/* u-blox MIA-M10 GNSS */
gnss_uart: &uart1 {
	compatible = "nordic,nrf-uarte";
	current-speed = <38400>;
	status = "okay";
	tx-pin = <6>; /* P0.06 */
	rx-pin = <7>; /* P0.07 */
	gnss: mia_m10 {
		compatible = "u-blox,mia-m10";
		label = "ublox-mia-m10";
		status = "okay";

		pps-gpios = <&gpio0 29 GPIO_ACTIVE_HIGH>;
	};
	/* vin-supply = <&gnss_flash_pwr>; */
};

&i2c0 {
	status = "disabled";
};

&i2c1 {
	compatible = "nordic,nrf-twi";
	/* Cannot be used together with spi1. */
	status = "okay";
	sda-pin = <22>; /* P0.22 */
	scl-pin = <25>; /* P0.25 */
	clock-frequency = <I2C_BITRATE_STANDARD>;


};

&pwm0 {
	status = "okay";
	ch0-pin = <14>;
};

&pwm1 {
	status = "okay";
	ch0-pin = <17>;
};

&spi0 {
	compatible = "nordic,nrf-spi";
	/* Cannot be used together with i2c0. */
	status = "okay";
	sck-pin = <40>; /* P1.08 */
	mosi-pin = <41>;/* P1.09 */
	miso-pin = <11>;/* P0.11 */
	cs-gpios = <&gpio1 14 GPIO_ACTIVE_LOW>, /* CS ACCELEROMETER */
	           <&gpio0 15 GPIO_ACTIVE_LOW>, /* CS BAROMETER */
	           <&gpio0 12 GPIO_ACTIVE_LOW>; /* CS EEPROM */

	movement_sensor: lis2dw12@0 {
		status = "okay";
		compatible = "st,lis2dw12";
		reg = <0>; /* First defined chip select number*/
		irq-gpios = <&gpio1 11 0>, <&gpio1 12 0>; /* INT1 and INT2 */
		spi-max-frequency = <8000000>;
		label = "LIS2DW12-ACCEL";
		/* https: //github.com/STMicroelectronics/lis2dw12/blob/d8457a1a25a035ac118a94c70f08fdd291ec6501/lis2dw12_reg.h#L680 */
		power-mode = <0>;
	};

	environment_sensor: bme280@1 {
		compatible = "bosch,bme280";
		label = "BME280_SPI";
		reg = <1>;
		spi-max-frequency = <1000000>;
	};

	eeprom0: eeprom@2 {
		compatible = "atmel,at25";
		reg = <2>;
		label = "eeprom";
		/*wp-gpios = <&gpiob 7 GPIO_ACTIVE_LOW>;*/
		size = <DT_SIZE_K(4)>;
		pagesize = <16>;
		address-width = <8>;
		timeout = <10>;
		status = "okay";
		spi-max-frequency = <8000000>;
	};
};

&spi1 {
	status = "disabled";
};

&spi2 {
	status = "disabled";
};

&qspi {
	status = "okay";
	sck-pin = <19>;
	io-pins = <20>, <23>, <24>, <21>;
	csn-pins = <34>;
	mx25u64: mx25u6432f@0 {
		compatible = "nordic,qspi-nor";
		reg = <0>;
		/* MX24U64 supports only pp and pp4io */
		writeoc = "pp4io";
		/* MX24U64 supports all readoc options */
		readoc = "read4io";
		sck-frequency = <8000000>;
		label = "MX25U64";
		/* vin-supply = <&gnss_flash_pwr>; */
		jedec-id = [ c2 25 37  ];
		sfdp-bfp = [ e5 20 f1 ff ff ff ff 03 44 eb 08 6b 08 3b 04 bb ee ff ff ff ff ff 00 ff ff ff 00 ff 0c 20 0f 52 10 d8 00 ff 23 72 f5 00 82 ed 04 cc 44 83 68 44 30 b0 30 b0 f7 c4 d5 5c 00 be 29 ff f0 d0 ff ff  ];
		size = <67108864>;
		has-dpd;
		t-enter-dpd = <10000>;
		t-exit-dpd = <35000>;
	};
};

&flash0 {

	partitions {
		compatible = "fixed-partitions";
		#address-cells = <1>;
		#size-cells = <1>;

		boot_partition: partition@0 {
			label = "mcuboot";
			reg = <0x000000000 0x0000C000>;
		};
		slot0_partition: partition@c000 {
			label = "image-0";
			reg = <0x0000C000 0x00067000>;
		};
		slot1_partition: partition@73000 {
			label = "image-1";
			reg = <0x00073000 0x00067000>;
		};
		scratch_partition: partition@da000 {
			label = "image-scratch";
			reg = <0x000da000 0x0001e000>;
		};

		/*
		 * The flash starting at 0x000f8000 and ending at
		 * 0x000fffff is reserved for use by the application.
		 */

		/*
		 * Storage partition will be used by FCB/LittleFS/NVS
		 * if enabled.
		 */
		storage_partition: partition@f8000 {
			label = "storage";
			reg = <0x000f8000 0x00008000>;
		};
	};
};

&usbd {
	compatible = "nordic,nrf-usbd";
	status = "disabled";
};
```

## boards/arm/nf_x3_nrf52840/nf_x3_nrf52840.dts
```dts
/*
 * Copyright (c) 2017 Linaro Limited
 *
 * SPDX-License-Identifier: Apache-2.0
 */

/dts-v1/;
#include <nordic/nrf52840_qiaa.dtsi>

/ {
	model = "Nordic nRF52840 DK NRF52840";
	compatible = "nordic,nrf52840-dk-nrf52840";

	chosen {
		zephyr,console = &uart0;
		zephyr,shell-uart = &uart0;
		zephyr,uart-mcumgr = &uart0;
		zephyr,bt-mon-uart = &uart0;
		zephyr,bt-c2h-uart = &uart0;
		zephyr,sram = &sram0;
		zephyr,flash = &flash0;
		zephyr,code-partition = &slot0_partition;
	};


	vdd_pwr: vdd-pwr-ctrl {
		compatible = "regulator-fixed-sync", "regulator-fixed";
		label = "vdd-pwr-ctrl";
		regulator-name = "vdd-pwr-ctrl";
		enable-gpios = <&gpio0 17 GPIO_ACTIVE_HIGH>;
		regulator-boot-on;
		};

};

&adc {
	status = "okay";
};

&gpiote {
	status = "okay";
};

&gpio0 {
	status = "okay";
};

&gpio1 {
	status = "okay";
};


&uart1 { /* u-blox SARA-U2 or SARA-R4 */
    compatible = "nordic,nrf-uarte";
	current-speed = <115200>;
	status = "okay";
	tx-pin = <45>; /* AS diagram */
	rx-pin = <44>; /* As diagram */
//	rts-pin = <39>;
//	cts-pin = <38>;
//	hw-flow-control;

	sara_r4 {
		compatible = "ublox,sara-r4";
		label = "ublox-sara-r4";
		status = "okay";

		 mdm-power-gpios = <&gpio0 31 0 >;
		//mdm-power-gpios = <&gpio1 11 GPIO_ACTIVE_LOW>;
		mdm-reset-gpios = <&gpio1 11 0>;
		mdm-vint-gpios = <&gpio1 07 0>;
	};
};


&i2c1 {
	compatible = "nordic,nrf-twi";
	/* Cannot be used together with spi1. */
	 status = "disabled";
	sda-pin = <30>;
	scl-pin = <31>;
};

&pwm0 {
	 status = "disabled";
	ch0-pin = <27>;
	ch0-inverted;
};

&spi0 {
	compatible = "nordic,nrf-spi";
	/* Cannot be used together with i2c0. */
	status = "disabled";
	sck-pin = <27>;
	mosi-pin = <26>;
	miso-pin = <29>;
};

&spi1 {
	compatible = "nordic,nrf-spim";
	status = "okay";
	sck-pin = <8>;    /* P 0.08 */
	mosi-pin = <06>;  /* P 0.27 */
	miso-pin = <27>;  /* P 0.06 */

	cs-gpios = <&gpio0 7 GPIO_ACTIVE_LOW>;  /* CS GPS */

	zoem8b@0 {
				 compatible = "ublox,zoem8bspi";
				 label = "ZOEM8B";
				 status="okay";
				 spi-max-frequency = <1000000>;
				 reg = <0>;
				 reset-gpios = <&gpio0 26 GPIO_ACTIVE_LOW>;  /* RESET1 GPS */
   };

};

/* TODO https://drive.google.com/file/d/1WL7-PLfckdqEzlq5WGDCYJcrYrQnqmVO/view?usp=sharing */
&spi2 {
		compatible = "nordic,nrf-spim";
		status = "okay";
		sck-pin =  <36>;      /* P 1.04 */
		mosi-pin = <35>;      /* P 1.03 */
		miso-pin = <37>;      /* P 1.05 */
		cs-gpios = <&gpio0 11 GPIO_ACTIVE_LOW>, /* CS ACC */
	               <&gpio1 9 GPIO_ACTIVE_LOW>;  /* CS Flash */

		lis3dh@0 {
					  compatible = "st,lis2dh";
					  status="okay";
					  label = "LIS3DH";
					  spi-max-frequency = <8000000>;
					  reg = <0>;
					  irq-gpios = <&gpio0 20 0>;   /* INT2_TILT P0.20 */
	   };
	   at25dl081: at25dl081@1 {
						    /* https://no.mouser.com/datasheet/2/590/doc8732-1385712.pdf */
							 compatible = "jedec,spi-nor";
							 status="okay";
							 label = "AT25DL081";
							 reg = < 1 >;
							 spi-max-frequency = < 40000000 >;
							 has-lock = < 0xBC >;   /* Important: clears the protection flags */
							 size = < 0x800000 >;
							 has-dpd;
							 t-enter-dpd = < 3000 >;
							 t-exit-dpd = < 30000 >;
							 jedec-id = [ 1f 45 02 ];
	  };

};

&flash0 {
	partitions {
		compatible = "fixed-partitions";
		#address-cells = <1>;
		#size-cells = <1>;

		boot_partition: partition@0 {
			label = "mcuboot";
			reg = <0x000000000 0x0000C000>;
		};
		slot0_partition: partition@c000 {
			label = "image-0";
			reg = <0x0000C000 0x00067000>;
		};
		slot1_partition: partition@73000 {
			label = "image-1";
			reg = <0x00073000 0x00067000>;
		};
		scratch_partition: partition@da000 {
			label = "image-scratch";
			reg = <0x000da000 0x0001e000>;
		};

		/*
		 * The flash starting at 0x000f8000 and ending at
		 * 0x000fffff is reserved for use by the application.
		 */

	};
};

&at25dl081 {
	partitions {
		compatible = "fixed-partitions";
		#address-cells = <1>;
		#size-cells = <1>;

		/*
		 * Storage partition will be used by FCB/LittleFS/NVS
		 * if enabled.
		 */
		storage_partition: partition@f8000 {
			label = "storage";
			reg = <0x000f8000 0x00008000>;
		};
	};
};

&usbd {
	compatible = "nordic,nrf-usbd";
	status = "okay";
};
```

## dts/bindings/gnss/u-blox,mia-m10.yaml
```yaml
description: u-blox MIA-M10 GNSS

compatible: "u-blox,mia-m10"

include: uart-device.yaml

properties:
    label:
      type: string
      required: true

    pps-gpios:
      type: phandle-array
      required: false

    extint-gpios:
      type: phandle-array
      required: true

    resetn-gpios:
      type: phandle-array
      required: true
      
```

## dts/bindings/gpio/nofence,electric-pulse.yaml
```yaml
# Copyright (c) 2021 Nofence AS

description: NOFENCE EP parent node

compatible: "nofence,electric-pulse"

include:
    - name: base.yaml
      property-allowlist: [label]

properties:
    label:
      description: |
        Human readable string describing the device and used to set the device
        name. It can be passed as argument to device_get_binding() to retrieve
        the device. If this property is omitted, then the device name is set
        from the node full name.

child-binding:
    description: NOFENCE ZAP child node
    properties:
       gpios:
          type: phandle-array
          required: true
       label:
          required: false
          type: string
          description: |
            Human readable string describing the pin use
```

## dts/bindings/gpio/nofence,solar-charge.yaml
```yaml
# Copyright (c) 2021 Nofence AS

description: NOFENCE Solar Charge parent node

compatible: "nofence,solar-charge"

include:
    - name: base.yaml
      property-allowlist: [label]

properties:
    label:
      description: |
        Human readable string describing the device and used to set the device
        name. It can be passed as argument to device_get_binding() to retrieve
        the device. If this property is omitted, then the device name is set
        from the node full name.

child-binding:
    description: NOFENCE Solar Charge child node
    properties:
       gpios:
          type: phandle-array
          required: true
       label:
          required: false
          type: string
          description: |
            Human readable string describing the pin use
```

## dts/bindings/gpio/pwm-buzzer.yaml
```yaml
description: PWM Buzzer parent node

compatible: "pwm-buzzer"

include:
    - name: base.yaml
      property-allowlist: [label]

properties:
    label:
      description: |
        Human readable string describing the device and used to set the device
        name. It can be passed as argument to device_get_binding() to retrieve
        the device. If this property is omitted, then the device name is set
        from the node full name.

child-binding:
    description: PWM BUZZER child node
    properties:
        pwms:
          required: true
          type: phandle-array

        label:
          required: false
          type: string
          description: |
            Human readable string describing the BUZZER. It can be used by an
            application to identify this BUZZER or to retrieve its number/index
            (i.e. child node number) on the parent device.
```

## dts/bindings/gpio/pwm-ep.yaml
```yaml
description: PWM EP parent node

compatible: "pwm-ep"

include:
    - name: base.yaml
      property-allowlist: [label]

properties:
    label:
      description: |
        Human readable string describing the device and used to set the device
        name. It can be passed as argument to device_get_binding() to retrieve
        the device. If this property is omitted, then the device name is set
        from the node full name.

child-binding:
    description: PWM EP child node
    properties:
        pwms:
          required: true
          type: phandle-array

        label:
          required: false
          type: string
          description: |
            Human readable string describing the EP. It can be used by an
            application to identify this EP or to retrieve its number/index
            (i.e. child node number) on the parent device.
```

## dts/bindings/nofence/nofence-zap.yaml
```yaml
# Copyright (c) 2021 Nofence AS

description: NOFENCE ZAP parent node

compatible: "nofence-zap"

include:
    - name: base.yaml
      property-allowlist: [label]

properties:
    label:
      description: |
        Human readable string describing the device and used to set the device
        name. It can be passed as argument to device_get_binding() to retrieve
        the device. If this property is omitted, then the device name is set
        from the node full name.

child-binding:
    description: NOFENCE ZAP child node
    properties:
       gpios:
          type: phandle-array
          required: true
       label:
          required: false
          type: string
          description: |
            Human readable string describing the pin use
```

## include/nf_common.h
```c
#ifndef X3_FW_NF_COMMON_H
#define X3_FW_NF_COMMON_H


#include <zephyr.h>

/** @brief Struct containing GNSS data. */
typedef struct {
	int32_t lat;
	int32_t lon;

	/** Corrected position.*/
	int16_t x;
	/** Corrected position.*/
	int16_t y;

	/** Set if overflow because of too far away from origin position.*/
	uint8_t overflow;

	/** Height above ellipsoid [dm].*/
	int16_t height;

	/** 2-D speed [cm/s]*/
	uint16_t speed;

	/** Movement direction (-18000 to 18000 Hundred-deg).*/
	int16_t head_veh;

	/** Horizontal dilution of precision.*/
	uint16_t h_dop;

	/** Horizontal Accuracy Estimate [DM].*/
	uint16_t h_acc_dm;

	/** Vertical Accuracy Estimate [DM].*/
	uint16_t v_acc_dm;

	/** Heading accuracy estimate [Hundred-deg].*/
	uint16_t head_acc;

	/** Number of SVs used in Nav Solution.*/
	uint8_t num_sv;

	/** UBX-NAV-PVT flags as copied.*/
	uint8_t pvt_flags;

	/** UBX-NAV-PVT valid flags as copies.*/
	uint8_t pvt_valid;

	/** Milliseconds since position report from UBX.*/
	uint16_t age;

	/** UBX-NAV-SOL milliseconds since receiver start or reset.*/
	uint32_t msss;

	/** UBX-NAV-SOL milliseconds since First Fix.*/
	uint32_t ttff;
} gnss_struct_t;

/** @brief See gps_struct_t for descriptions. */
typedef struct {
	int32_t lat;
	int32_t lon;
	uint32_t unix_timestamp;
	uint16_t h_acc_d;
	int16_t head_veh;
	uint16_t head_acc;
	uint8_t pvt_flags;
	uint8_t num_sv;
	uint16_t hdop;
	int16_t height;
	int16_t baro_height;
	uint32_t msss;
	uint8_t gps_mode;
} gnss_last_fix_struct_t;

typedef struct
{
	int32_t Lat;
	int32_t Lon;
	int16_t X;				// Corrected position
	int16_t Y;				// Corrected position
	uint8_t Overflow;		// Set if overflow because of too far away from origin position
	int16_t Height;			// Height above ellipsoid [dm]
	uint16_t Speed;			// 2-D speed [cm/s]
	int16_t headVeh;		// Movement direction (-18000 to 18000 Hundred-deg)
	uint16_t hDOP;			// Horizontal dilution of precision
	uint16_t hAccDm;		// Horizontal Accuracy Estimate [DM]
	uint16_t vAccDm;		// Vertical Accuracy Estimate [DM]
	uint16_t headAcc;		// Heading accuracy estimate [Hundred-deg]
	uint8_t numSV;			// Number of SVs used in Nav Solution
	uint8_t pvt_flags;      // UBX-NAV-PVT flags as copied
	uint8_t pvt_valid;      // UBX-NAV-PVT valid flags as copies
	uint16_t Age;			// milliseconds since position report from UBX
	//uint16_t LastAge;		// Time between the two last position reports from UBX
	uint32_t msss;          // UBX-NAV-SOL milliseconds since receiver start or reset
	uint32_t ttff;          // UBX-NAV-SOL milliseconds since First Fix
} gps_struct_t;

typedef struct {
	int32_t Lat;
	int32_t Lon;
	uint32_t unixTimestamp;
	uint16_t hAccDm;
	int16_t headVeh;
	uint16_t headAcc;
	uint8_t pvt_flags;
	uint8_t numSV;
	uint16_t hdop;
	int16_t Height;
	int16_t baro_Height;
	uint32_t msss;
	uint8_t gps_mode;
} gps_last_fix_struct_t;

#endif //X3_FW_NF_COMMON_H
```

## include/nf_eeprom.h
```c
/*
* Copyright (c) 2022 Nofence AS
*/

#ifndef X3_FW_NF_EEPROM_H
#define X3_FW_NF_EEPROM_H

#include <device.h>

/**
 * @brief max size of the IPV4 host and port string received from the
 * server.
 * @example: 193.146.222.555:123456 = 22 characters
 */
#define EEP_HOST_PORT_BUF_SIZE 24

#define EEP_BLE_SEC_KEY_LEN 8
/**
 * @brief initialises the eeprom API
 * @param[in] device pointer to the EEPROM device to use for subsequent read/writes
 */
void eep_init(const struct device *dev);

/**
 * @brief writes the persistent collar serial number.
 * @param[in] serial the serial number to persist in non-volatile storage
 *
 * @return 0 on success, otherwise negative error code.
 */
int eep_write_serial(uint32_t serial);

/**
 * @brief reads the persistent collar serial number. Might be cached internally
 * @param[out] p_serial pointer to the serial number to receive the value
 *
 * @return 0 on success, otherwise negative error code.
 */
int eep_read_serial(uint32_t *p_serial);

/**
 * @brief writes the server host-port string to persisted storage
 * @param[in] host_port pointer to a null-terminated host-port string e.g.
 * @p 192.177.255.345:987654. The length of the string must not exceed
 * @p EEP_HOST_PORT_BUF_SIZE -1
 * @return 0 on success, otherwise negative errror code
 */
int eep_write_host_port(const char *host_port);

/**
 * @brief reads the server host-port string from persisted storage
 * @param[out] host_port pointer to buffer where the string is stored
 * @param bufsize size of the buffer
 * @return 0 on success, otherwise negative errror code
 */
int eep_read_host_port(char *host_port, size_t bufsize);

/**
 * @brief writes the ble_security key to persisted storage
 * @param[in] ble_sec_key pointer to security key array.
 * @param[in] bufsize length of data to be written
 *
 * @return 0 on success, otherwise negative errror code
 */
int eep_write_ble_sec_key(uint8_t *ble_sec_key, size_t bufsize);

/**
 * @brief reads the ble_security key from persisted storage
 * @param[in] ble_sec_key pointer to security key array.
 * @param[in] bufsize length of data to be written
 *
 * @return 0 on success, otherwise negative errror code
 */
int eep_read_ble_sec_key(uint8_t *ble_sec_key, size_t bufsize);

#endif //X3_FW_NF_EEPROM_H
```
